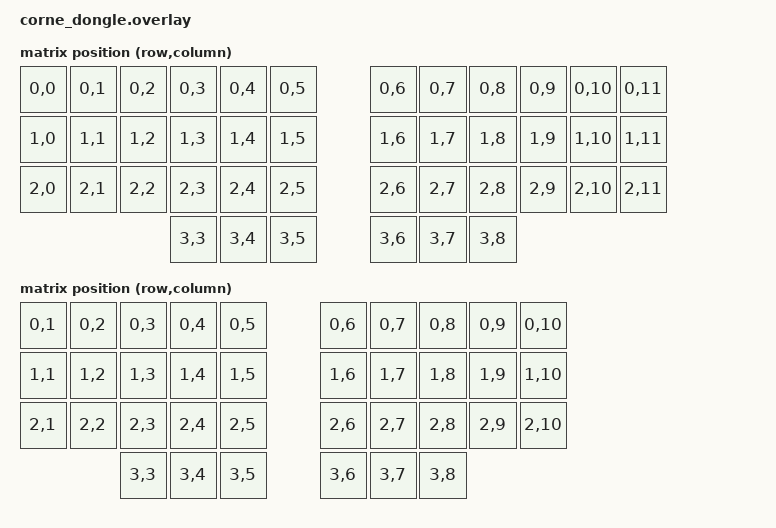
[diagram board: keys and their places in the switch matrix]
#include <dt-bindings/zmk/matrix_transform.h>
#include <layouts/foostan/corne/5column.dtsi>
#include <layouts/foostan/corne/6column.dtsi>

/*
 * Align the dongle's physical-layout set with the stock corne_left/corne_right
 * halves so the split central selects the SAME layout (6-column) on the peripherals.
 *
 * Root cause of the previous scramble: the dongle declared only a bare
 * zmk,matrix-transform and no physical layout, so ZMK synthesised a single layout
 * (index 0) and synced "selected layout 0" to the halves. On the halves, index 0 is
 * the 5-column layout (5column.dtsi is included before 6column.dtsi), whose transform
 * has columns=10 instead of 12 — producing the row-dependent position offset.
 *
 * Fix (mirrors redmasters/zmk-config-dongle): include both foostan layouts in the
 * same order as the halves, bind each to a local transform, and choose 6col. The
 * dongle has no keys (mock kscan), so these transforms are never scanned here; they
 * exist purely to make the dongle's layout set + order + selection match the halves.
 */
&foostan_corne_6col_layout {
    transform = <&default_transform>;
};

/*
 * INDEX-ALIGNMENT PLACEHOLDER — do not remove.
 *
 * ZMK split syncs the *selected physical-layout index* (a single uint8) from the
 * central (this dongle) to the peripherals, which apply it to their OWN local
 * layouts[] array. The stock corne_left/corne_right halves declare layouts in the
 * order [5col = index 0, 6col = index 1]. By declaring the same two layouts in the
 * same order here, the dongle's 6col is also index 1, so it broadcasts "1" and the
 * halves select 6col. If this 5col entry were dropped, the dongle would broadcast
 * index 0, and the halves would select THEIR index 0 = 5col → scrambled keys again.
 * The dongle never scans these (mock kscan); this layout exists purely for index parity.
 */
&foostan_corne_5col_layout {
    transform = <&five_column_transform>;
};

/ {
  chosen {
    zmk,kscan = &mock_kscan;
    zmk,physical-layout = &foostan_corne_6col_layout;
  };

  /* The dongle has no keys — this is a dummy kscan */
  mock_kscan: mock_kscan_0 {
    compatible = "zmk,kscan-mock";
    columns = <0>;
    rows = <0>;
    events = <0>;
  };

  /*
   * 6-column Corne transform (42 keys) — the selected layout.
   *
   * ╭───┬───┬───┬───┬───┬───╮       ╭───┬───┬───┬───┬───┬───╮
   * │ 0 │ 1 │ 2 │ 3 │ 4 │ 5 │       │ 6 │ 7 │ 8 │ 9 │10 │11 │
   * ├───┼───┼───┼───┼───┼───┤       ├───┼───┼───┼───┼───┼───┤
   * │12 │13 │14 │15 │16 │17 │       │18 │19 │20 │21 │22 │23 │
   * ├───┼───┼───┼───┼───┼───┤       ├───┼───┼───┼───┼───┼───┤
   * │24 │25 │26 │27 │28 │29 │       │30 │31 │32 │33 │34 │35 │
   * ╰───┴───┴──┬┴──┬┴──┬┴──┬╯       ╰┬──┴┬──┴┬──┴┬──┴───┴───╯
   *            │36 │37 │38 │         │39 │40 │41 │
   *            ╰───┴───┴───╯         ╰───┴───┴───╯
   */
  default_transform: keymap_transform_0 {
    compatible = "zmk,matrix-transform";
    columns = <12>;
    rows = <4>;
    map = <
RC(0,0) RC(0,1) RC(0,2) RC(0,3) RC(0,4) RC(0,5)  RC(0,6) RC(0,7) RC(0,8) RC(0,9) RC(0,10) RC(0,11)
RC(1,0) RC(1,1) RC(1,2) RC(1,3) RC(1,4) RC(1,5)  RC(1,6) RC(1,7) RC(1,8) RC(1,9) RC(1,10) RC(1,11)
RC(2,0) RC(2,1) RC(2,2) RC(2,3) RC(2,4) RC(2,5)  RC(2,6) RC(2,7) RC(2,8) RC(2,9) RC(2,10) RC(2,11)
                        RC(3,3) RC(3,4) RC(3,5)  RC(3,6) RC(3,7) RC(3,8)
    >;
  };

  /*
   * 5-column Corne transform — must exist because foostan_corne_5col_layout
   * (pulled in by the include) references it. Standard foostan 5col map.
   */
  five_column_transform: keymap_transform_1 {
    compatible = "zmk,matrix-transform";
    columns = <10>;
    rows = <4>;
    map = <
RC(0,1) RC(0,2) RC(0,3) RC(0,4) RC(0,5)  RC(0,6) RC(0,7) RC(0,8) RC(0,9) RC(0,10)
RC(1,1) RC(1,2) RC(1,3) RC(1,4) RC(1,5)  RC(1,6) RC(1,7) RC(1,8) RC(1,9) RC(1,10)
RC(2,1) RC(2,2) RC(2,3) RC(2,4) RC(2,5)  RC(2,6) RC(2,7) RC(2,8) RC(2,9) RC(2,10)
                        RC(3,3) RC(3,4) RC(3,5)  RC(3,6) RC(3,7) RC(3,8)
    >;
  };
};
